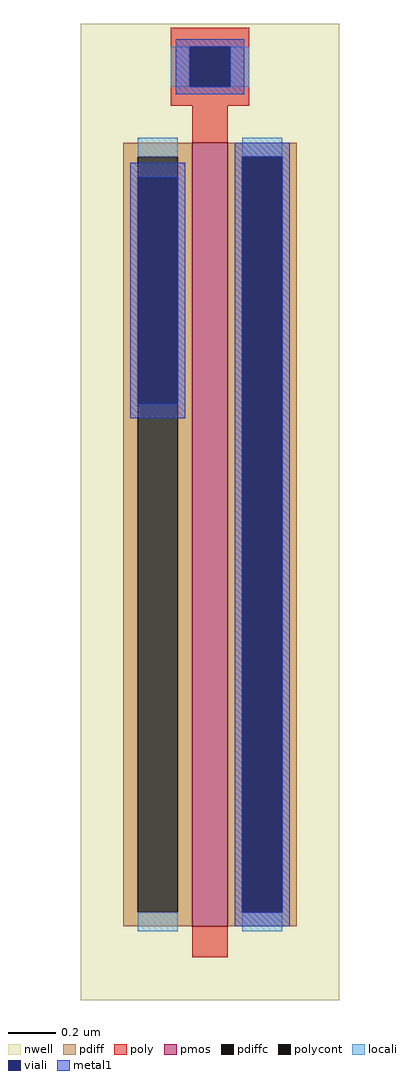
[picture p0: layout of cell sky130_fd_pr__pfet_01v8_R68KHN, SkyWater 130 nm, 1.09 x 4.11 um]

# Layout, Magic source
magic
tech sky130A
magscale 1 2
<< nwell >>
rect -109 -428 109 394
<< pmos >>
rect -15 -366 15 294
<< pdiff >>
rect -73 282 -15 294
rect -73 -354 -61 282
rect -27 -354 -15 282
rect -73 -366 -15 -354
rect 15 282 73 294
rect 15 -354 27 282
rect 61 -354 73 282
rect 15 -366 73 -354
<< pdiffc >>
rect -61 -354 -27 282
rect 27 -354 61 282
<< poly >>
rect -33 375 33 391
rect -33 341 -17 375
rect 17 341 33 375
rect -33 325 33 341
rect -15 294 15 325
rect -15 -392 15 -366
<< polycont >>
rect -17 341 17 375
<< locali >>
rect -33 341 -17 375
rect 17 341 33 375
rect -61 282 -27 298
rect -61 -370 -27 -354
rect 27 282 61 298
rect 27 -370 61 -354
<< viali >>
rect -17 341 17 375
rect -61 74 -27 265
rect 27 -354 61 282
<< metal1 >>
rect -29 375 29 381
rect -29 341 -17 375
rect 17 341 29 375
rect -29 335 29 341
rect 21 282 67 294
rect -67 265 -21 277
rect -67 74 -61 265
rect -27 74 -21 265
rect -67 62 -21 74
rect 21 -354 27 282
rect 61 -354 67 282
rect 21 -366 67 -354
<< properties >>
string gencell sky130_fd_pr__pfet_01v8
string library sky130
string parameters w 3.3 l 0.15 m 1 nf 1 diffcov 100 polycov 100 guard 0 glc 1 grc 1 gtc 1 gbc 1 tbcov 100 rlcov 100 topc 1 botc 0 poverlap 0 doverlap 1 lmin 0.15 wmin 0.42 compatible {sky130_fd_pr__pfet_01v8  sky130_fd_pr__pfet_01v8_lvt sky130_fd_pr__pfet_01v8_hvt  sky130_fd_pr__pfet_g5v0d10v5} full_metal 0 viasrc 100 viadrn -30 viagate 100 viagb 0 viagr 0 viagl 0 viagt 0
<< end >>
